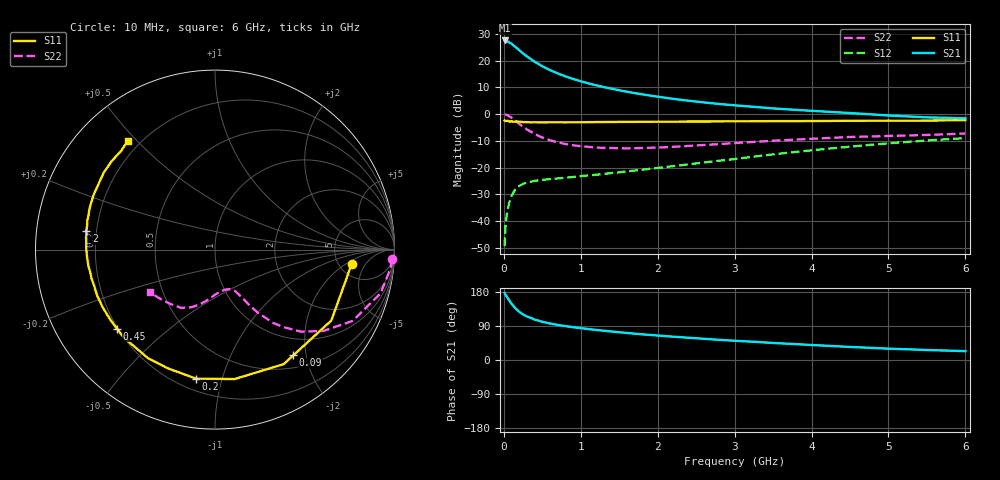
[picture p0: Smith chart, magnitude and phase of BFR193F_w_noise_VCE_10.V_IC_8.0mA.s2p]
! (c) 2017  Infineon Technologies AG, Munich
! Infineon Technologies  Discrete & RF Semiconductors
! BFR193F
! VCE =  10. V,  IC =  8.0 mA
! Common Emitter S-Parameters:  Jan 2017
# GHz  S  MA  R  50
!  f  S11  S21  S12  S22
! GHz  MAG  ANG  MAG  ANG  MAG  ANG  MAG  ANG
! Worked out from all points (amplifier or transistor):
!   77 points, 10 MHz to 6 GHz, reference 50 ohm
!   highest |S21| = 27.6 dB at 10 MHz (marker M1)
!   |S21| within 3 dB of that: start of sweep to 173.8 MHz
!   unconditionally stable (mu >= 1): 1.688 GHz to 2.87 GHz
!   at 130 MHz: K = 0.14, MSG = 27.3 dB, |S12| = -29.0 dB
!   at 2.2 GHz: K = 1.05, MAG = 11.3 dB, |S12| = -19.4 dB
!   at 6 GHz: K = 0.77, MSG = 3.7 dB, |S12| = -8.9 dB
!   lowest NFmin = 0.84 dB at 450 MHz
!   S11 on the Smith chart (normalised r, x): 10 MHz: 6.53, -2.52; 90 MHz: 0.70, -1.77; 200 MHz: 0.27, -0.83; 450 MHz: 0.20, -0.34; 2 GHz: 0.16, +0.07; 6 GHz: 0.15, +0.47
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0.01  0.7653 -6.0  23.96 176.8  0.0034 86.3  0.9883 -3.1
0.02  0.7486 -13.3  23.58 172.9  0.0072 84.8  0.9837 -6.0
0.05  0.7589 -31.4  23.02 163.2  0.0168 75.7  0.9545 -14.8
0.09  0.7332 -53.5  21.16 151.3  0.0271 64.9  0.8779 -24.7
0.1  0.7441 -59.0  20.85 148.1  0.0298 63.4  0.8632 -27.4
0.15  0.7296 -81.4  18.14 136.4  0.0391 54.5  0.7563 -36.8
0.2  0.7266 -98.4  15.76 127.2  0.0455 47.9  0.6629 -43.6
0.25  0.7119 -111.8  13.65 120.1  0.0498 44.3  0.5804 -48.3
0.3  0.7107 -121.8  12.04 114.8  0.0525 41.1  0.5192 -51.7
0.4  0.7061 -136.3  9.564 106.5  0.0567 37.6  0.4261 -55.8
0.45  0.7016 -141.1  8.712 104.0  0.0578 37.4  0.3962 -56.9
0.6  0.7038 -153.0  6.685 96.3  0.0612 37.1  0.3256 -59.7
0.7  0.7049 -158.8  5.8 92.6  0.0628 37.9  0.2978 -61.1
0.9  0.7064 -166.8  4.569 86.6  0.0669 41.0  0.2623 -63.6
1.1  0.7113 -172.5  3.774 81.6  0.0717 45.0  0.245 -66.7
1.5  0.7178 179.3  2.805 73.3  0.0817 52.2  0.231 -74.2
2  0.7248 171.7  2.128 64.6  0.0989 59.8  0.2374 -84.1
2.1  0.7246 170.6  2.033 63.1  0.1028 61.0  0.2413 -85.9
3.1  0.737 160.0  1.429 49.7  0.1512 70.0  0.2946 -100.9
4.1  0.746 149.6  1.135 38.6  0.218 72.0  0.3521 -114.0
5.1  0.7577 138.2  0.931 29.2  0.2923 68.4  0.3947 -131.1
6  0.7772 128.7  0.84 23.4  0.3571 63.0  0.4354 -146.9
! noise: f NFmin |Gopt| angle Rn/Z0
0.45  0.84  0.25  124  0.08
0.9  0.99  0.4  147  0.07
1.9  1.74  0.61  -177  0.05
2.4  2.11  0.64  -167  0.08
